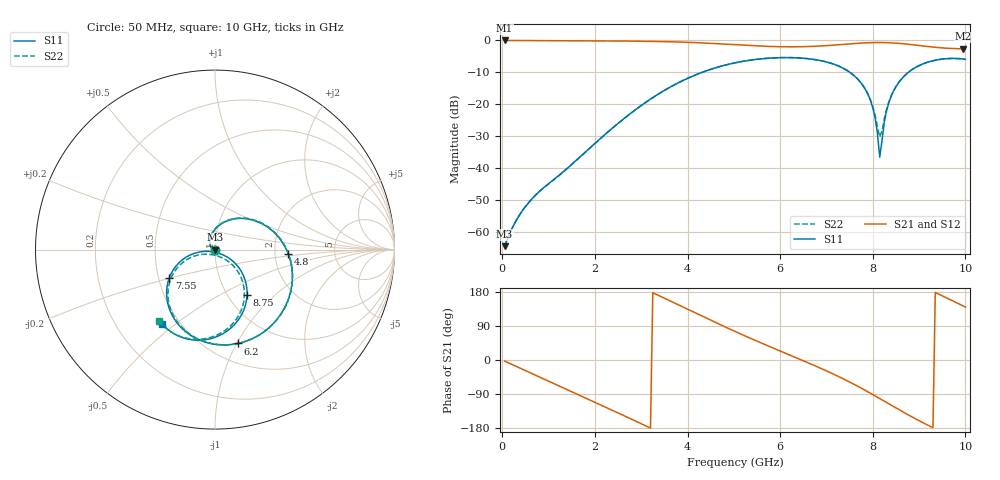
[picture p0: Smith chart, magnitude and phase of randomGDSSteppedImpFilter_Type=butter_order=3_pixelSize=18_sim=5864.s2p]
! freq	dB(S11)	phase(S11)	dB(S12)	phase(S12)
!  dB(S21)	phase(S21)	dB(S22)	phase(S22)
!S-par simulation data
#  GHz  S  DB  R 50
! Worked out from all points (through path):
!   200 points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, 50 MHz to 10 GHz, reference 50 ohm
!   highest |S21| = -0.01 dB at 50 MHz (marker M1); lowest = -2.6 dB at 9.95 GHz (marker M2)
!   group delay of S21, straight-line fit = 159 ps
!   lowest |S11| = -64.5 dB at 50 MHz (marker M3), VSWR 1.00, Z = 50 - j0.0442 ohm
!   |S11| at or under -10 dB: start of sweep to 4.315 GHz; 7.506 GHz to 8.769 GHz (1.264 GHz wide, 15.5 % of centre)
!   |S22| runs from -64.5 to -5.4 dB; largest |S21 - S12| = 0
!   S11 on the Smith chart (normalised r, x): 50 MHz: 1.00, -0.00; 4.8 GHz: 2.37, -0.13; 6.2 GHz: 0.69, -1.01; 7.55 GHz: 0.57, -0.20; 8.75 GHz: 1.23, -0.68; 10 GHz: 0.40, -0.45
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0.05  -64.51 -47.9  -0.01 -2.8  -0.01 -2.8  -64.49 -47.7
0.45  -53.07 -107.8  -0.04 -25.0  -0.04 -25.0  -53.02 -106.2
1  -44.90 -155.6  -0.07 -55.5  -0.07 -55.5  -44.96 -152.5
1.75  -35.55 162.9  -0.11 -97.3  -0.11 -97.3  -35.60 166.0
2.65  -24.24 116.4  -0.19 -148.1  -0.19 -148.1  -24.26 118.2
3.4  -16.54 75.7  -0.34 168.8  -0.34 168.8  -16.54 76.8
4.15  -10.94 33.3  -0.67 125.1  -0.67 125.1  -10.95 34.1
4.8  -7.78 -3.2  -1.15 87.9  -1.15 87.9  -7.78 -2.5
5.05  -6.95 -16.8  -1.36 74.0  -1.36 74.0  -6.95 -16.2
5.6  -5.75 -45.8  -1.79 44.4  -1.79 44.4  -5.75 -45.1
6.2  -5.38 -76.2  -2.00 13.4  -2.00 13.4  -5.38 -75.4
6.7  -5.90 -101.5  -1.86 -12.5  -1.86 -12.5  -5.89 -100.5
7.55  -10.48 -148.3  -1.03 -61.2  -1.03 -61.2  -10.44 -145.8
7.95  -18.83 -170.0  -0.69 -87.7  -0.69 -87.7  -18.58 -162.6
8.05  -24.22 -170.7  -0.65 -94.7  -0.65 -94.7  -23.41 -157.5
8.15  -36.57 -119.1  -0.65 -101.7  -0.65 -101.7  -30.19 -110.8
8.25  -25.52 -33.1  -0.67 -108.8  -0.67 -108.8  -24.56 -49.5
8.35  -19.36 -32.1  -0.72 -115.9  -0.72 -115.9  -19.14 -41.1
8.75  -10.22 -54.6  -1.17 -143.8  -1.17 -143.8  -10.21 -58.0
9.35  -6.20 -90.4  -2.15 178.3  -2.15 178.3  -6.21 -92.6
9.95  -5.81 -123.0  -2.60 142.8  -2.60 142.8  -5.85 -125.4
10  -5.91 -125.6  -2.60 139.8  -2.60 139.8  -5.95 -128.0
